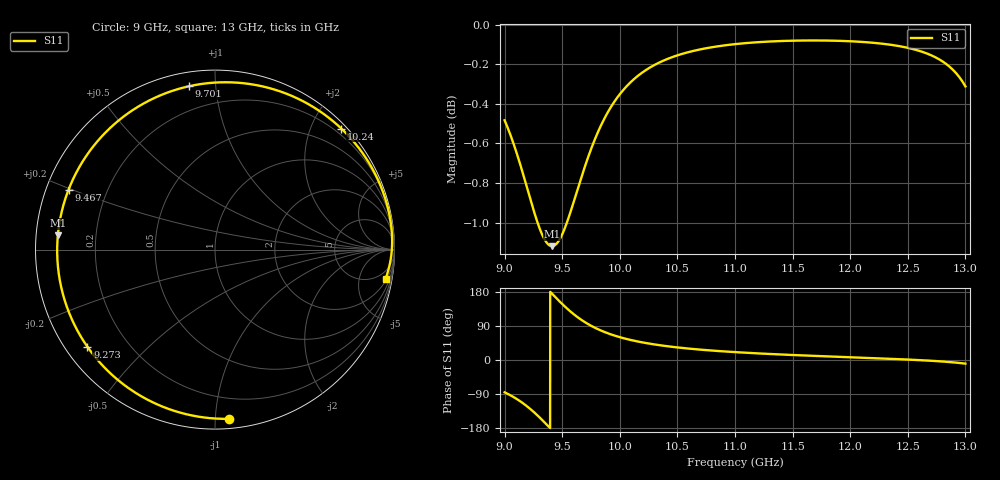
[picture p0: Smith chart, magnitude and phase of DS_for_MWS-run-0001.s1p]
! TOUCHSTONE file generated by CST DESIGN STUDIO
! Date and time: Tue Feb  4 18:10:11 2025
! Project name: C:\Work\MatlabApps\UnitCellOptimizationMatlab\CST\unitcell.cst
! Tree item: Tasks\Sweep1\SPara1\S-Parameters
! Header version: 2024
! Port assignment regex: !\s*Touchstone port\s*([0-9]+)\s*=\s*(CST MWS port|CST DES external port|CST DES block port)\s*(.+)\s* \(\"(.*)\"\)(\s*mode\s*([0-9]+))?.*
! Touchstone port assignment:
! Touchstone port 1 = CST DES external port 1 ("")
# GHz S MA R 50
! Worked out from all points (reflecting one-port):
!   4001 points, 9 GHz to 13 GHz, reference 50 ohm
!   lowest |S11| = -1.1 dB at 9.412 GHz (marker M1), VSWR 15.55, Z = 3.22 + j2.24 ohm
!   phase of S11 starts at -85 deg and turns -284 deg over the sweep
!   S11 on the Smith chart (normalised r, x): 9 GHz: 0.06, -1.08; 9.273 GHz: 0.06, -0.34; 9.467 GHz: 0.07, +0.20; 9.701 GHz: 0.07, +0.85; 10.24 GHz: 0.09, +2.49; 13 GHz: 2, -11
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9  0.9459 -85.3
9.08  0.9327 -98.2
9.149  0.9192 -111.8
9.212  0.9059 -126.5
9.273  0.8936 -142.7
9.346  0.8827 -164.4
9.379  0.88 -174.7
9.412  0.8791 174.8
9.467  0.8816 157.7
9.5  0.8852 147.8
9.549  0.8927 133.9
9.597  0.9015 121.6
9.647  0.9113 110.0
9.701  0.9215 99.1
9.767  0.9329 87.7
9.845  0.9442 76.6
9.92  0.9529 67.9
10  0.9604 60.2
10.114  0.9683 51.5
10.245  0.9747 43.8
10.5  0.9823 33.2
10.723  0.9861 26.7
11  0.9887 20.8
11.5  0.9907 13.2
12  0.9904 7.3
12.5  0.9866 1.2
12.784  0.9796 -3.6
13  0.9647 -9.6
